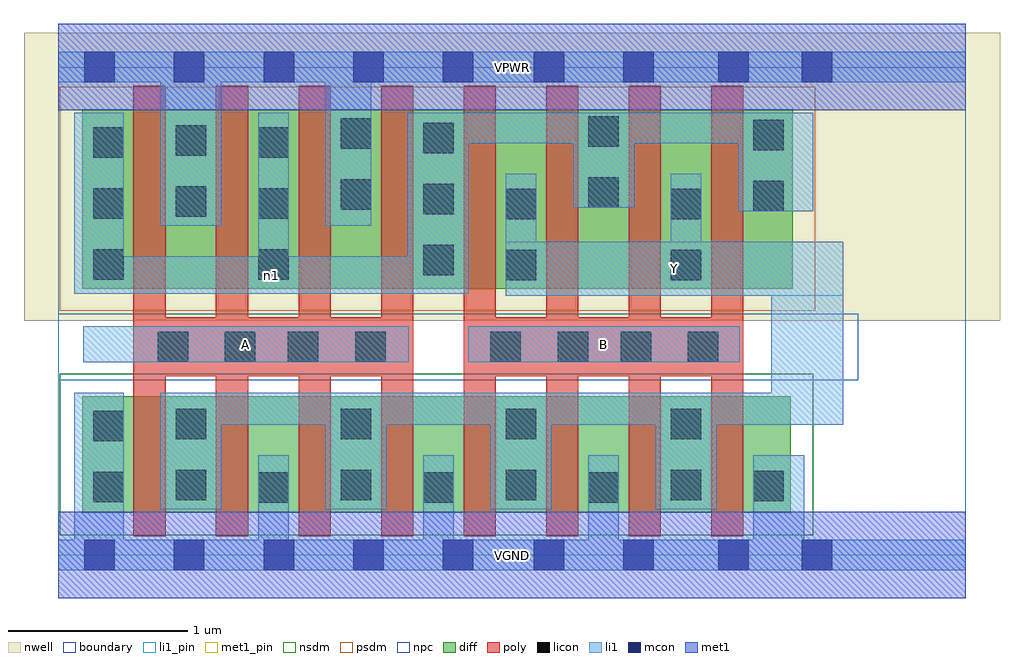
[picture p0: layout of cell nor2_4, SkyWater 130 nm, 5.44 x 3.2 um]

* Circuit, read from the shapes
.subckt nor2_4 A B VGND VPWR Y n1
XM1 Y A VGND VSUBS sky130_fd_pr__nfet_01v8 w=0.65 l=0.18 m=4
XM2 Y B VGND VSUBS sky130_fd_pr__nfet_01v8 w=0.65 l=0.18 m=4
XM3 VPWR A n1 n2 sky130_fd_pr__pfet_01v8 w=1 l=0.18 m=4
XM4 Y B n1 n2 sky130_fd_pr__pfet_01v8 w=1 l=0.18 m=4
.ends

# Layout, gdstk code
import gdstk
lib = gdstk.Library(unit=1e-6, precision=1e-09)
def R(c, l, rs):  # rectangles x0, y0, x1, y1
    for r in rs: c.add(gdstk.rectangle(r[:2], r[2:], *l))
def A(c, l, x, y, w, h, nx, ny, dx, dy):  # array of equal rectangles
    R(c, l, [(x+i*dx, y+j*dy, x+i*dx+w, y+j*dy+h) for i in range(nx) for j in range(ny)])
nwell = (64, 20)
diff = (65, 20)
poly = (66, 20)
licon = (66, 44)
li1_pin = (67, 16)
li1 = (67, 20)
mcon = (67, 44)
met1_pin = (68, 16)
met1 = (68, 20)
nsdm = (93, 44)
psdm = (94, 20)
npc = (95, 20)
boundary = (235, 4)

nor2_4 = lib.new_cell('nor2_4')
R(nor2_4, nwell, [(-0.19,1.305,5.25,2.91), (0,1.305,5.06,2.91)])
R(nor2_4, diff, [(0.135,0.235,4.085,0.885), (0.135,1.485,4.095,2.485)])
A(nor2_4, poly, 0.42, 0.105, 0.18, 2.51, 8, 1, 0.46, 0)
R(nor2_4, poly, [(0.42,0.995,1.98,1.325), (2.26,0.995,3.82,1.325)])
A(nor2_4, licon, 1.115, 0.29, 0.17, 0.17, 3, 1, 0.92, 0)
A(nor2_4, licon, 0.655, 0.305, 0.17, 0.17, 4, 2, 0.92, 0.34)
A(nor2_4, licon, 0.195, 1.535, 0.17, 0.17, 1, 3, 0, 0.34)
A(nor2_4, licon, 1.115, 1.535, 0.17, 0.17, 1, 3, 0, 0.34)
A(nor2_4, licon, 2.035, 1.56, 0.17, 0.17, 1, 3, 0, 0.34)
R(nor2_4, licon, [(0.195,0.295,0.365,0.465), (3.875,0.3,4.045,0.47), (0.195,0.635,0.365,0.805), (0.555,1.075,0.725,1.245), (0.93,1.075,1.1,1.245), (1.28,1.075,1.45,1.245), (1.655,1.075,1.825,1.245), (2.41,1.075,2.58,1.245), (2.785,1.075,2.955,1.245), (3.135,1.075,3.305,1.245), (3.51,1.075,3.68,1.245), (2.495,1.53,2.665,1.7), (3.415,1.53,3.585,1.7), (2.495,1.87,2.665,2.04), (3.415,1.87,3.585,2.04), (0.655,1.885,0.825,2.055), (3.875,1.915,4.045,2.085), (1.575,1.925,1.745,2.095), (2.955,1.935,3.125,2.105), (0.655,2.225,0.825,2.395), (3.875,2.255,4.045,2.425), (1.575,2.265,1.745,2.435), (2.955,2.275,3.125,2.445)])
R(nor2_4, li1_pin, [(0.14,1.075,1.955,1.275), (2.285,1.075,3.8,1.275), (2.495,1.445,4.375,1.745)])
A(nor2_4, li1, 1.115, -0.085, 0.17, 0.64, 3, 1, 0.92, 0)
A(nor2_4, li1, 0.57, 0.255, 0.34, 0.65, 4, 1, 0.92, 0)
R(nor2_4, li1, [(0,-0.085,5.06,0.085), (0.09,-0.085,0.365,0.905), (3.875,-0.085,4.16,0.555), (0.57,0.725,4.375,0.905), (3.975,0.725,4.375,1.745), (0.14,1.075,1.955,1.275), (2.285,1.075,3.8,1.275), (2.495,1.445,4.375,1.745), (2.495,1.445,2.665,2.125), (3.415,1.445,3.585,2.125), (0.09,1.455,2.29,1.665), (0.09,1.455,0.365,2.465), (1.115,1.455,1.285,2.465), (1.95,1.455,2.29,2.465), (0.57,1.835,0.91,2.805), (1.49,1.835,1.745,2.805), (3.79,1.915,4.21,2.465), (2.87,1.935,3.21,2.465), (1.95,2.295,4.21,2.465), (0,2.635,5.06,2.805)])
A(nor2_4, mcon, 0.145, -0.085, 0.17, 0.17, 5, 2, 0.5, 2.72)
R(nor2_4, mcon, [(2.65,-0.085,2.82,0.085), (3.15,-0.085,3.32,0.085), (3.68,-0.085,3.85,0.085), (4.145,-0.085,4.315,0.085), (2.65,2.635,2.82,2.805), (3.15,2.635,3.32,2.805), (3.68,2.635,3.85,2.805), (4.145,2.635,4.315,2.805)])
R(nor2_4, met1_pin, [(0,-0.24,5.06,0.24), (0,2.48,5.06,2.96)])
R(nor2_4, met1, [(0,-0.24,5.06,0.24), (0,2.48,5.06,2.96)])
R(nor2_4, nsdm, [(0.01,0.11,4.21,1.01)])
R(nor2_4, psdm, [(0.01,1.36,4.22,2.61)])
R(nor2_4, npc, [(0,0.975,4.46,1.345)])
R(nor2_4, boundary, [(0,0,5.06,2.72)])
nor2_4.add(gdstk.Label('A', (1.047,1.175), layer=67, texttype=5))
nor2_4.add(gdstk.Label('B', (3.042,1.175), layer=67, texttype=5))
nor2_4.add(gdstk.Label('Y', (3.435,1.595), layer=67, texttype=5))
nor2_4.add(gdstk.Label('n1', (1.19,1.56), layer=67, texttype=5))
nor2_4.add(gdstk.Label('VPWR', (2.53,2.72), layer=68, texttype=5))
nor2_4.add(gdstk.Label('VGND', (2.53,0), layer=68, texttype=5))
nor2_4.add(gdstk.Label('A', (1.047,1.175), layer=67, texttype=16))
nor2_4.add(gdstk.Label('B', (3.042,1.175), layer=67, texttype=16))
nor2_4.add(gdstk.Label('Y', (3.435,1.595), layer=67, texttype=16))
nor2_4.add(gdstk.Label('VPWR', (2.53,2.72), layer=68, texttype=16))
nor2_4.add(gdstk.Label('VGND', (2.53,0), layer=68, texttype=16))

lib.write_gds('nor2_4.gds')
